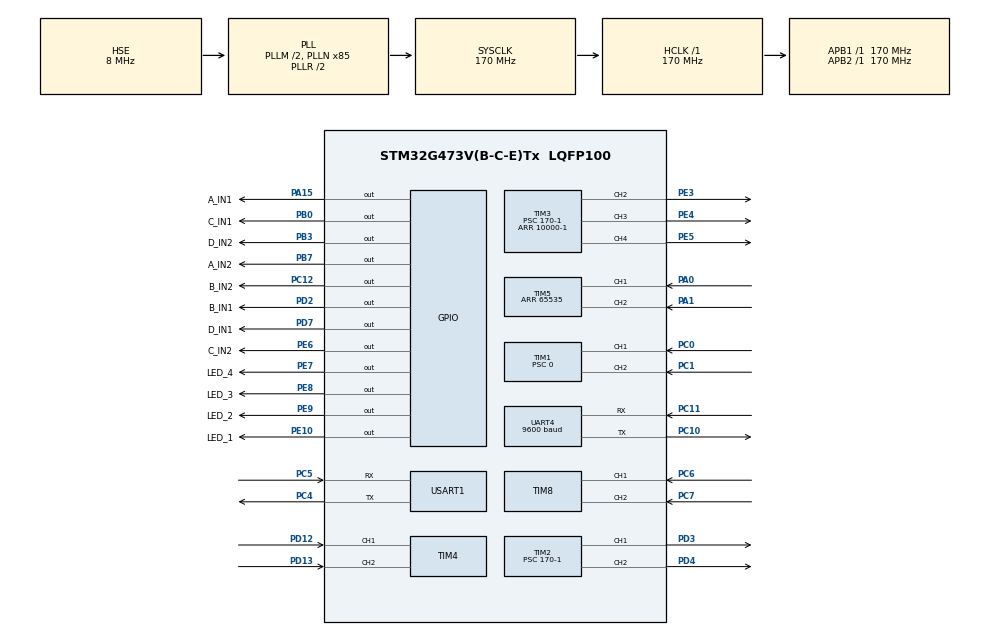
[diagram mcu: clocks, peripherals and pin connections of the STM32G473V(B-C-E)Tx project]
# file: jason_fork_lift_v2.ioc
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Mcu.Family=STM32G4
Mcu.Name=STM32G473V(B-C-E)Tx
Mcu.Package=LQFP100
NVIC.PriorityGroup=NVIC_PRIORITYGROUP_4
PA0.Signal=S_TIM5_CH1
PA1.Signal=S_TIM5_CH2
PA13.Mode=Serial_Wire
PA13.Signal=SYS_JTMS-SWDIO
PA14.Mode=Serial_Wire
PA14.Signal=SYS_JTCK-SWCLK
PA15.GPIO_Label=A_IN1
PA15.Signal=GPIO_Output
PB0.GPIO_Label=C_IN1
PB0.Signal=GPIO_Output
PB3.GPIO_Label=D_IN2
PB3.Signal=GPIO_Output
PB7.GPIO_Label=A_IN2
PB7.Signal=GPIO_Output
PC0.Signal=S_TIM1_CH1
PC1.Signal=S_TIM1_CH2
PC10.Mode=Asynchronous
PC10.Signal=UART4_TX
PC11.Mode=Asynchronous
PC11.Signal=UART4_RX
PC12.GPIO_Label=B_IN2
PC12.Signal=GPIO_Output
PC14-OSC32_IN.Mode=LSE-External-Oscillator
PC14-OSC32_IN.Signal=RCC_OSC32_IN
PC15-OSC32_OUT.Mode=LSE-External-Oscillator
PC15-OSC32_OUT.Signal=RCC_OSC32_OUT
PC4.Mode=Asynchronous
PC4.Signal=USART1_TX
PC5.Mode=Asynchronous
PC5.Signal=USART1_RX
PC6.Signal=S_TIM8_CH1
PC7.Signal=S_TIM8_CH2
PD12.Signal=S_TIM4_CH1
PD13.Signal=S_TIM4_CH2
PD2.GPIO_Label=B_IN1
PD2.Signal=GPIO_Output
PD3.Signal=S_TIM2_CH1
PD4.Signal=S_TIM2_CH2
PD7.GPIO_Label=D_IN1
PD7.Signal=GPIO_Output
PE10.GPIO_Label=LED_1
PE10.GPIO_Speed=GPIO_SPEED_FREQ_VERY_HIGH
PE10.Signal=GPIO_Output
PE3.Signal=S_TIM3_CH2
PE4.Signal=S_TIM3_CH3
PE5.Signal=S_TIM3_CH4
PE6.GPIO_Label=C_IN2
PE6.Signal=GPIO_Output
PE7.GPIO_Label=LED_4
PE7.GPIO_Speed=GPIO_SPEED_FREQ_VERY_HIGH
PE7.Signal=GPIO_Output
PE8.GPIO_Label=LED_3
PE8.GPIO_Speed=GPIO_SPEED_FREQ_VERY_HIGH
PE8.Signal=GPIO_Output
PE9.GPIO_Label=LED_2
PE9.GPIO_Speed=GPIO_SPEED_FREQ_VERY_HIGH
PE9.Signal=GPIO_Output
PF0-OSC_IN.Mode=HSE-External-Oscillator
PF0-OSC_IN.Signal=RCC_OSC_IN
PF1-OSC_OUT.Mode=HSE-External-Oscillator
PF1-OSC_OUT.Signal=RCC_OSC_OUT
ProjectManager.HeapSize=0x200
ProjectManager.StackSize=0x400
ProjectManager.TargetToolchain=STM32CubeIDE
RCC.ADC12Freq_Value=170000000
RCC.ADC345Freq_Value=170000000
RCC.AHBFreq_Value=170000000
RCC.APB1Freq_Value=170000000
RCC.APB1TimFreq_Value=170000000
RCC.APB2Freq_Value=170000000
RCC.APB2TimFreq_Value=170000000
RCC.CortexFreq_Value=170000000
RCC.EXTERNAL_CLOCK_VALUE=12288000
RCC.HCLKFreq_Value=170000000
RCC.HSE_VALUE=8000000
RCC.HSI48_VALUE=48000000
RCC.HSI_VALUE=16000000
RCC.PLLM=RCC_PLLM_DIV2
RCC.PLLN=85
RCC.PLLSourceVirtual=RCC_PLLSOURCE_HSE
RCC.SYSCLKFreq_VALUE=170000000
RCC.SYSCLKSource=RCC_SYSCLKSOURCE_PLLCLK
RCC.USBFreq_Value=170000000
RCC.VCOOutputFreq_Value=340000000
SH.S_TIM1_CH1.0=TIM1_CH1,Encoder_Interface
SH.S_TIM1_CH2.0=TIM1_CH2,Encoder_Interface
SH.S_TIM2_CH1.0=TIM2_CH1,PWM Generation1 CH1
SH.S_TIM2_CH2.0=TIM2_CH2,PWM Generation2 CH2
SH.S_TIM3_CH2.0=TIM3_CH2,PWM Generation2 CH2
SH.S_TIM3_CH3.0=TIM3_CH3,PWM Generation3 CH3
SH.S_TIM3_CH4.0=TIM3_CH4,PWM Generation4 CH4
SH.S_TIM4_CH1.0=TIM4_CH1,Encoder_Interface
SH.S_TIM4_CH2.0=TIM4_CH2,Encoder_Interface
SH.S_TIM5_CH1.0=TIM5_CH1,Encoder_Interface
SH.S_TIM5_CH2.0=TIM5_CH2,Encoder_Interface
SH.S_TIM8_CH1.0=TIM8_CH1,Encoder_Interface
SH.S_TIM8_CH2.0=TIM8_CH2,Encoder_Interface
TIM1.AutoReloadPreload=TIM_AUTORELOAD_PRELOAD_ENABLE
TIM1.CounterMode=TIM_COUNTERMODE_UP
TIM1.EncoderMode=TIM_ENCODERMODE_TI12
TIM1.IC1Filter=10
TIM1.IC2Filter=10
TIM1.PeriodNoDither=65535
TIM1.Prescaler=0
TIM2.AutoReloadPreload=TIM_AUTORELOAD_PRELOAD_ENABLE
TIM2.Channel-PWM\ Generation1\ CH1=TIM_CHANNEL_1
TIM2.Channel-PWM\ Generation2\ CH2=TIM_CHANNEL_2
TIM2.PeriodNoDither=10000-1
TIM2.Prescaler=170-1
TIM3.AutoReloadPreload=TIM_AUTORELOAD_PRELOAD_ENABLE
TIM3.Channel-PWM\ Generation2\ CH2=TIM_CHANNEL_2
TIM3.Channel-PWM\ Generation3\ CH3=TIM_CHANNEL_3
TIM3.Channel-PWM\ Generation4\ CH4=TIM_CHANNEL_4
TIM3.PeriodNoDither=10000-1
TIM3.Prescaler=170-1
TIM4.AutoReloadPreload=TIM_AUTORELOAD_PRELOAD_ENABLE
TIM4.EncoderMode=TIM_ENCODERMODE_TI12
TIM4.IC1Filter=10
TIM4.IC2Filter=10
TIM5.AutoReloadPreload=TIM_AUTORELOAD_PRELOAD_ENABLE
TIM5.CounterMode=TIM_COUNTERMODE_UP
TIM5.EncoderMode=TIM_ENCODERMODE_TI12
TIM5.IC1Filter=10
TIM5.IC2Filter=10
TIM5.PeriodNoDither=65535
TIM8.AutoReloadPreload=TIM_AUTORELOAD_PRELOAD_ENABLE
TIM8.EncoderMode=TIM_ENCODERMODE_TI12
TIM8.IC1Filter=10
TIM8.IC2Filter=10
UART4.BaudRate=9600
USART1.VirtualMode-Asynchronous=VM_ASYNC
VP_SYS_VS_DBSignals.Mode=DisableDeadBatterySignals
VP_TIM2_VS_ClockSourceINT.Mode=Internal
VP_TIM3_VS_ClockSourceINT.Mode=Internal
board=custom

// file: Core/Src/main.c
/* USER CODE BEGIN Header */
/**
 ******************************************************************************
 * @file           : main.c
 * @brief          : Main program body
 ******************************************************************************
 * @attention
 *
 * Copyright (c) 2025 STMicroelectronics.
 * All rights reserved.
 *
 * This software is licensed under terms that can be found in the LICENSE file
 * in the root directory of this software component.
 * If no LICENSE file comes with this software, it is provided AS-IS.
 *
 ******************************************************************************
 */
/* USER CODE END Header */
#include "main.h"
#include "tim.h"
#include "usart.h"
#include "gpio.h"

/* USER CODE BEGIN Includes */
#include "controller.h"
#include "mech.h"
#include "movement.h"
#include "robot.h"
#include "servo.h"

/* USER CODE END Includes */

/* USER CODE BEGIN PD */
#define TEST 1

/* USER CODE END PD */

/* USER CODE BEGIN PV */
int test_stage = 3;
int time_stamp = 0;
BaseVelocity test_base_vel = {0, 0, 0};
int test_encoder = 0;
WheelVelocity test_wheel_vel = {0, 0, 0, 0};
WheelVelocity test_vel = {0, 0, 0, 0};
WheelPWM test_pwm = {0, 0, 0, 0};
/* USER CODE END PV */

void SystemClock_Config(void);

int main(void)
{

  /* MCU Configuration--------------------------------------------------------*/

  /* Reset of all peripherals, Initializes the Flash interface and the Systick. */
  HAL_Init();

  /* Configure the system clock */
  SystemClock_Config();

  /* Initialize all configured peripherals */
  MX_GPIO_Init();
  MX_TIM1_Init();
  MX_TIM3_Init();
  MX_TIM4_Init();
  MX_TIM5_Init();
  MX_TIM8_Init();
  MX_TIM2_Init();
  MX_UART4_Init();
  MX_USART1_UART_Init();
  /* USER CODE BEGIN 2 */
  HAL_TIM_PWM_Start(&htim3, TIM_CHANNEL_4);
  HAL_TIM_PWM_Start(&htim2, TIM_CHANNEL_1);
  HAL_TIM_PWM_Start(&htim2, TIM_CHANNEL_2);
  HAL_TIM_PWM_Start(&htim3, TIM_CHANNEL_2);
  HAL_TIM_PWM_Start(&htim3, TIM_CHANNEL_3);
  HAL_TIM_Base_Start_IT(&htim1);
  HAL_TIM_Encoder_Start_IT(&htim1, TIM_CHANNEL_ALL);
  HAL_TIM_Base_Start_IT(&htim4);
  HAL_TIM_Encoder_Start_IT(&htim4, TIM_CHANNEL_ALL);
  HAL_TIM_Base_Start_IT(&htim5);
  HAL_TIM_Encoder_Start_IT(&htim5, TIM_CHANNEL_ALL);
  HAL_TIM_Base_Start_IT(&htim8);
  HAL_TIM_Encoder_Start_IT(&htim8, TIM_CHANNEL_ALL);

  HAL_GPIO_WritePin(LED_1_GPIO_Port, LED_1_Pin, GPIO_PIN_SET);
  HAL_GPIO_WritePin(LED_2_GPIO_Port, LED_2_Pin, GPIO_PIN_SET);
  HAL_GPIO_WritePin(LED_3_GPIO_Port, LED_3_Pin, GPIO_PIN_SET);
  HAL_GPIO_WritePin(LED_4_GPIO_Port, LED_4_Pin, GPIO_PIN_SET);

  HAL_GPIO_WritePin(C_IN1_GPIO_Port, C_IN1_Pin, GPIO_PIN_RESET);
  HAL_GPIO_WritePin(C_IN2_GPIO_Port, C_IN2_Pin, GPIO_PIN_SET);
  HAL_GPIO_WritePin(D_IN1_GPIO_Port, D_IN1_Pin, GPIO_PIN_RESET);
  HAL_GPIO_WritePin(D_IN2_GPIO_Port, D_IN2_Pin, GPIO_PIN_SET);
  HAL_GPIO_WritePin(A_IN1_GPIO_Port, A_IN1_Pin, GPIO_PIN_RESET);
  HAL_GPIO_WritePin(A_IN2_GPIO_Port, A_IN2_Pin, GPIO_PIN_SET);
  HAL_GPIO_WritePin(B_IN1_GPIO_Port, B_IN1_Pin, GPIO_PIN_RESET);
  HAL_GPIO_WritePin(B_IN2_GPIO_Port, B_IN2_Pin, GPIO_PIN_SET);

  TIM3->CCR2 = 10000 / 2;
  TIM2->CCR1 = 10000 / 2;
  TIM2->CCR2 = 10000 / 2;
  TIM3->CCR1 = 10000 / 2;

  // servo_reset_all();
  // HAL_Delay(1000);
  /* USER CODE END 2 */

  /* Infinite loop */
  while (1) {

    /* USER CODE BEGIN 3 */
    HAL_Delay(1);
    read_current_velocity(encoders);
#if (TEST == 0)
    HAL_UART_Receive(&huart1, (uint8_t *)&controller_buffer, sizeof(controller_buffer), 0xFFFF);
    parse_controller_data(controller_buffer, &controller_state);

    if (controller_state.options_button && !prev_turn_on) {
      turn_on = !turn_on;
      HAL_GPIO_WritePin(LED_1_GPIO_Port, LED_1_Pin, turn_on ? GPIO_PIN_RESET : GPIO_PIN_SET);
    }
    prev_turn_on = controller_state.options_button;

    if (turn_on) {
      if (controller_state.r1) {
        BaseVelocity target_vel = {0, 0, ROBOT_MAX_Z_VELOCITY * 0.35};
        movement_control(target_vel);
      } else if (controller_state.l1) {
        BaseVelocity target_vel = {0, 0, ROBOT_MAX_Z_VELOCITY * -0.35};
        movement_control(target_vel);
      } else if (controller_state.up) {
        BaseVelocity target_vel = {0,
                                   ROBOT_MAX_ Y_VELOCITY * 0.75,
                                   0};
        movement_control(target_vel);
      } else if (controller_state.down) {
        BaseVelocity target_vel = {0,
                                   ROBOT_MAX_Y_VELOCITY * -0.75,
                                   0};
        movement_control(target_vel);
      } else if (controller_state.left) {
        BaseVelocity target_vel = {ROBOT_MAX_X_VELOCITY * -0.75,
                                   0,
                                   0};
        movement_control(target_vel);
      } else if (controller_state.right) {
        BaseVelocity target_vel = {ROBOT_MAX_X_VELOCITY * 0.75,
                                   0,
                                   0};
        movement_control(target_vel);
      } else {
        WheelPWM target_pwm = {0, 0, 0, 0};
        wheels_control(target_pwm);
      }
    }
#else
    if (HAL_GetTick() - time_stamp > 3000) {
      time_stamp = HAL_GetTick();
      HAL_GPIO_TogglePin(C_IN1_GPIO_Port, C_IN1_Pin);
      HAL_GPIO_TogglePin(C_IN2_GPIO_Port, C_IN2_Pin);
      HAL_GPIO_TogglePin(D_IN1_GPIO_Port, D_IN1_Pin);
      HAL_GPIO_TogglePin(D_IN2_GPIO_Port, D_IN2_Pin);
      HAL_GPIO_TogglePin(A_IN1_GPIO_Port, A_IN1_Pin);
      HAL_GPIO_TogglePin(A_IN2_GPIO_Port, A_IN2_Pin);
      HAL_GPIO_TogglePin(B_IN1_GPIO_Port, B_IN1_Pin);
      HAL_GPIO_TogglePin(B_IN2_GPIO_Port, B_IN2_Pin);
    }

    // switch (test_stage) {
    //   case 1:
    //     test_base_vel.x_vel = ROBOT_MAX_X_VELOCITY * 0.5;
    //     test_base_vel.y_vel = 0;
    //     test_base_vel.z_vel = 0;
    //     break;
    //   case 2:
    //     test_base_vel.x_vel = 0;
    //     test_base_vel.y_vel = ROBOT_MAX_Y_VELOCITY * 0.5;
    //     test_base_vel.z_vel = 0;
    //     break;
    //   case 3:
    //     test_base_vel.x_vel = -ROBOT_MAX_X_VELOCITY * 0.5;
    //     test_base_vel.y_vel = 0;
    //     test_base_vel.z_vel = 0;
    //     break;
    //   case 4:
    //     test_base_vel.x_vel = 0;
    //     test_base_vel.y_vel = -ROBOT_MAX_Y_VELOCITY * 0.5;
    //     test_base_vel.z_vel = 0;
    //     break;
    //   case 5:
    //     test_base_vel.x_vel = 0;
    //     test_base_vel.y_vel = 0;
    //     test_base_vel.z_vel = ROBOT_MAX_Z_VELOCITY * 0.35;
    //     break;
    //   default:
    //     test_base_vel.x_vel = 0;
    //     test_base_vel.y_vel = 0;
    //     test_base_vel.z_vel = 0;
    //     break;
    // }

    // HAL_UART_Receive(&huart1, (uint8_t *)&controller_buffer, sizeof(controller_buffer), 0xFFFF);
    // parse_controller_data(controller_buffer, &controller_state);

    // if (controller_state.options_button && !prev_turn_on) {
    //   turn_on = !turn_on;
    //   HAL_GPIO_WritePin(LED_1_GPIO_Port, LED_1_Pin, turn_on ? GPIO_PIN_RESET : GPIO_PIN_SET);
    // }
    // prev_turn_on = controller_state.options_button;
    // if (turn_on) {
    //   if (controller_state.r1) {
    //     BaseVelocity target_vel = {0, 0, ROBOT_MAX_Z_VELOCITY * 0.35};
    //     movement_control(target_vel);
    //   } else if (controller_state.l1) {
    //     BaseVelocity target_vel = {0, 0, ROBOT_MAX_Z_VELOCITY * -0.35};
    //     movement_control(target_vel);
    //   } else if (controller_state.up) {
    //     BaseVelocity target_vel = {0,
    //                                ROBOT_MAX_Y_VELOCITY * 0.75,
    //                                0};
    //     movement_control(target_vel);
    //   } else if (controller_state.down) {
    //     BaseVelocity target_vel = {0,
    //                                ROBOT_MAX_Y_VELOCITY * -0.75,
    //                                0};
    //     movement_control(target_vel);
    //   } else if (controller_state.left) {
    //     BaseVelocity target_vel = {ROBOT_MAX_X_VELOCITY * -0.75,
    //                                0,
    //                                0};
    //     movement_control(target_vel);
    //   } else if (controller_state.right) {
    //     BaseVelocity target_vel = {ROBOT_MAX_X_VELOCITY * 0.75,
    //                                0,
    //                                0};
    //     movement_control(target_vel);
    //   }
    // }
#endif
  }
  /* USER CODE END 3 */
}

void SystemClock_Config(void)
{
  RCC_OscInitTypeDef RCC_OscInitStruct = {0};
  RCC_ClkInitTypeDef RCC_ClkInitStruct = {0};

  /** Configure the main internal regulator output voltage
  */
  HAL_PWREx_ControlVoltageScaling(PWR_REGULATOR_VOLTAGE_SCALE1_BOOST);

  /** Initializes the RCC Oscillators according to the specified parameters
  * in the RCC_OscInitTypeDef structure.
  */
  RCC_OscInitStruct.OscillatorType = RCC_OSCILLATORTYPE_HSE;
  RCC_OscInitStruct.HSEState = RCC_HSE_ON;
  RCC_OscInitStruct.PLL.PLLState = RCC_PLL_ON;
  RCC_OscInitStruct.PLL.PLLSource = RCC_PLLSOURCE_HSE;
  RCC_OscInitStruct.PLL.PLLM = RCC_PLLM_DIV2;
  RCC_OscInitStruct.PLL.PLLN = 85;
  RCC_OscInitStruct.PLL.PLLP = RCC_PLLP_DIV2;
  RCC_OscInitStruct.PLL.PLLQ = RCC_PLLQ_DIV2;
  RCC_OscInitStruct.PLL.PLLR = RCC_PLLR_DIV2;
  if (HAL_RCC_OscConfig(&RCC_OscInitStruct) != HAL_OK)
  {
    Error_Handler();
  }

  /** Initializes the CPU, AHB and APB buses clocks
  */
  RCC_ClkInitStruct.ClockType = RCC_CLOCKTYPE_HCLK|RCC_CLOCKTYPE_SYSCLK
                              |RCC_CLOCKTYPE_PCLK1|RCC_CLOCKTYPE_PCLK2;
  RCC_ClkInitStruct.SYSCLKSource = RCC_SYSCLKSOURCE_PLLCLK;
  RCC_ClkInitStruct.AHBCLKDivider = RCC_SYSCLK_DIV1;
  RCC_ClkInitStruct.APB1CLKDivider = RCC_HCLK_DIV1;
  RCC_ClkInitStruct.APB2CLKDivider = RCC_HCLK_DIV1;

  if (HAL_RCC_ClockConfig(&RCC_ClkInitStruct, FLASH_LATENCY_4) != HAL_OK)
  {
    Error_Handler();
  }
}

void Error_Handler(void)
{
  __disable_irq();
  while (1) {
  }
}
